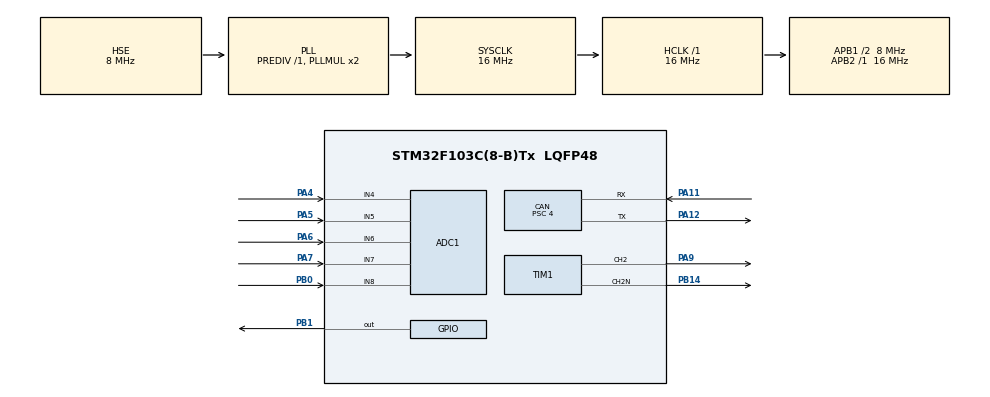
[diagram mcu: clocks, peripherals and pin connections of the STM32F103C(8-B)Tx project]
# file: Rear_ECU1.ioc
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ADC1.Channel-2\#ChannelRegularConversion=ADC_CHANNEL_6
ADC1.Channel-3\#ChannelRegularConversion=ADC_CHANNEL_4
ADC1.Channel-4\#ChannelRegularConversion=ADC_CHANNEL_5
ADC1.Channel-5\#ChannelRegularConversion=ADC_CHANNEL_7
ADC1.Channel-6\#ChannelRegularConversion=ADC_CHANNEL_8
ADC1.ContinuousConvMode=ENABLE
ADC1.EnableInjectedConversion=ENABLE
ADC1.NbrOfConversion=5
ADC1.NbrOfConversionFlag=1
ADC1.Rank-2\#ChannelRegularConversion=1
ADC1.Rank-3\#ChannelRegularConversion=2
ADC1.Rank-4\#ChannelRegularConversion=3
ADC1.Rank-5\#ChannelRegularConversion=4
ADC1.Rank-6\#ChannelRegularConversion=5
ADC1.SamplingTime-2\#ChannelRegularConversion=ADC_SAMPLETIME_55CYCLES_5
ADC1.SamplingTime-3\#ChannelRegularConversion=ADC_SAMPLETIME_55CYCLES_5
ADC1.SamplingTime-4\#ChannelRegularConversion=ADC_SAMPLETIME_55CYCLES_5
ADC1.SamplingTime-5\#ChannelRegularConversion=ADC_SAMPLETIME_55CYCLES_5
ADC1.SamplingTime-6\#ChannelRegularConversion=ADC_SAMPLETIME_55CYCLES_5
ADC1.master=1
CAN.BS1=CAN_BS1_15TQ
CAN.BS2=CAN_BS2_2TQ
CAN.CalculateBaudRate=111111
CAN.CalculateTimeBit=9000
CAN.CalculateTimeQuantum=500.0
CAN.NART=ENABLE
CAN.Prescaler=4
Dma.ADC1.0.Direction=DMA_PERIPH_TO_MEMORY
Dma.ADC1.0.Instance=DMA1_Channel1
Dma.ADC1.0.MemDataAlignment=DMA_MDATAALIGN_HALFWORD
Dma.ADC1.0.MemInc=DMA_MINC_ENABLE
Dma.ADC1.0.Mode=DMA_CIRCULAR
Dma.ADC1.0.PeriphDataAlignment=DMA_PDATAALIGN_HALFWORD
Dma.ADC1.0.PeriphInc=DMA_PINC_DISABLE
Dma.ADC1.0.Priority=DMA_PRIORITY_LOW
Dma.Request0=ADC1
Mcu.Family=STM32F1
Mcu.Name=STM32F103C(8-B)Tx
Mcu.Package=LQFP48
NVIC.ADC1_2_IRQn=true\:0\:0\:false\:false\:true\:true\:true\:true
NVIC.DMA1_Channel1_IRQn=true\:0\:0\:false\:false\:true\:false\:true\:true
NVIC.PriorityGroup=NVIC_PRIORITYGROUP_4
NVIC.USB_LP_CAN1_RX0_IRQn=true\:0\:0\:false\:false\:true\:true\:true\:true
PA11.Mode=CAN_Activate
PA11.Signal=CAN_RX
PA12.Mode=CAN_Activate
PA12.Signal=CAN_TX
PA13.Mode=Serial_Wire
PA13.Signal=SYS_JTMS-SWDIO
PA14.Mode=Serial_Wire
PA14.Signal=SYS_JTCK-SWCLK
PA4.Signal=ADCx_IN4
PA5.Signal=ADCx_IN5
PA6.Signal=ADCx_IN6
PA7.Signal=ADCx_IN7
PA9.Signal=S_TIM1_CH2
PB0.Signal=ADCx_IN8
PB1.Signal=GPIO_Output
PB14.Mode=PWM Generation2 CH2 CH2N
PB14.Signal=TIM1_CH2N
PD0-OSC_IN.Mode=HSE-External-Oscillator
PD0-OSC_IN.Signal=RCC_OSC_IN
PD1-OSC_OUT.Mode=HSE-External-Oscillator
PD1-OSC_OUT.Signal=RCC_OSC_OUT
ProjectManager.HeapSize=0x200
ProjectManager.StackSize=0x400
ProjectManager.TargetToolchain=STM32CubeIDE
RCC.AHBFreq_Value=16000000
RCC.APB1CLKDivider=RCC_HCLK_DIV2
RCC.APB1Freq_Value=8000000
RCC.APB1TimFreq_Value=16000000
RCC.APB2Freq_Value=16000000
RCC.APB2TimFreq_Value=16000000
RCC.HCLKFreq_Value=16000000
RCC.PLLSourceVirtual=RCC_PLLSOURCE_HSE
RCC.SYSCLKFreq_VALUE=16000000
RCC.SYSCLKSource=RCC_SYSCLKSOURCE_PLLCLK
RCC.USBFreq_Value=16000000
SH.ADCx_IN4.0=ADC1_IN4,IN4
SH.ADCx_IN5.0=ADC1_IN5,IN5
SH.ADCx_IN6.0=ADC1_IN6,IN6
SH.ADCx_IN7.0=ADC1_IN7,IN7
SH.ADCx_IN8.0=ADC1_IN8,IN8
SH.S_TIM1_CH2.0=TIM1_CH2,PWM Generation2 CH2 CH2N
TIM1.Channel-PWM\ Generation2\ CH2\ CH2N=TIM_CHANNEL_2
VP_TIM1_VS_ClockSourceINT.Mode=Internal
board=custom

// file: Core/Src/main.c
/* USER CODE BEGIN Header */
/**
  ******************************************************************************
  * @file           : main.c
  * @brief          : Main program body
  ******************************************************************************
  * @attention
  *
  * Copyright (c) 2026 STMicroelectronics.
  * All rights reserved.
  *
  * This software is licensed under terms that can be found in the LICENSE file
  * in the root directory of this software component.
  * If no LICENSE file comes with this software, it is provided AS-IS.
  *
  ******************************************************************************
  */
/* USER CODE END Header */
#include "main.h"
#include <math.h>

/* USER CODE BEGIN PD */
//----------brake light-----------
#define ADC_BUFF_SIZE 5
#define ADC_BRAKE_INDEX 0

#define Brake_pedal_threshold 150
//------brake light----------

//-----------thermal---------
#define ADC_THERM1_INDEX 1
#define ADC_THERM2_INDEX 2
#define ADC_THERM3_INDEX 3
#define ADC_THERM4_INDEX 4
#define ADC_MAX_VAL 4095      // 12-bit ADC resolution
#define TEMP_MAX_VAL 100.0f      // Max expected stator temp in degrees
#define MDOT_MAX_VAL 0.267f      // Max mass flow rate in kg/s
#define PWM_PERIOD 59999       // PWM Period
#define Table_Size 10
//-----------thermal-----------

/* USER CODE END PD */

ADC_HandleTypeDef hadc1;
DMA_HandleTypeDef hdma_adc1;

CAN_HandleTypeDef hcan;

TIM_HandleTypeDef htim1;

/* USER CODE BEGIN PV */
//--------brake light--------------
uint16_t adc_buff[ADC_BUFF_SIZE];
volatile uint16_t adc_val=0;
float voltage=0.0f;
float temp[4];
//-----------brake light---------

//----------thermals---------------
const float temp_breakpoints[Table_Size] = {0, 50, 55, 60, 65, 70, 75, 80, 85, 90};
const float mdot_data[Table_Size] = {0, 0.005, 0.01, 0.03, 0.06, 0.08, 0.1, 0.1, 0.15, 0.15};

// --- GLOBAL VARIABLES ---
volatile uint32_t adc_raw_value = 0;
float stator_temp = 0.0f;
float target_mdot = 0.0f;
uint32_t pwm_duty_cycle = 0;
//--------thermals-------------

/* USER CODE END PV */

void SystemClock_Config(void);
static void MX_GPIO_Init(void);
static void MX_DMA_Init(void);
static void MX_CAN_Init(void);
static void MX_ADC1_Init(void);
static void MX_TIM1_Init(void);

/* USER CODE BEGIN 0 */
//---------------thermal------------
//Lookup Table Interpolation
float mdot_from_temp(float input_temp) {
	if (input_temp <= temp_breakpoints[0]) {
		return mdot_data[0];
	}
	if (input_temp >= temp_breakpoints[Table_Size - 1]) {
		return mdot_data[Table_Size - 1];
	}
	int i = 0;
	while (temp_breakpoints[i + 1] < input_temp) {
		i++;
	}

	float x0 = temp_breakpoints[i];
	float x1 = temp_breakpoints[i + 1];
	float y0 = mdot_data[i];
	float y1 = mdot_data[i + 1];

	return y0 + ((input_temp - x0) * ((y1 - y0) / (x1 - x0)));
}

// Map Flow Rate to PWM
uint32_t calculate_pwm_duty(float flow_rate) {
	if (flow_rate > MDOT_MAX_VAL) {
		flow_rate = MDOT_MAX_VAL;
	}
	if (flow_rate < 0.0f) {
		flow_rate = 0.0f;
	}
	return (uint32_t) ((flow_rate / MDOT_MAX_VAL) * PWM_PERIOD);
}

 float therm_to_temp(uint16_t adc_value){

	 float voltage = ((float) adc_value * 3.3) / 4095.0f;
	 if (voltage >= 3.29f)
	 {

	 voltage = 3.29f;
	 }
	 float resistance = (voltage * 10000.0f) / (3.3f - voltage) ;
	 float temperature = (-31.19 * logf (resistance)) + 313.73f;
	 return temperature;
 }
//------------thermal--------------------
/* USER CODE END 0 */

int main(void)
{

  /* MCU Configuration--------------------------------------------------------*/

  /* Reset of all peripherals, Initializes the Flash interface and the Systick. */
  HAL_Init();

  /* Configure the system clock */
  SystemClock_Config();

  /* Initialize all configured peripherals */
  MX_GPIO_Init();
  MX_DMA_Init();
  MX_CAN_Init();
  MX_ADC1_Init();
  MX_TIM1_Init();
  /* USER CODE BEGIN 2 */
HAL_ADCEx_Calibration_Start(&hadc1);
__HAL_RCC_AFIO_CLK_ENABLE();
//	__HAL_AFIO_REMAP_TIM1_PARTIAL();
HAL_ADC_Start_DMA(&hadc1, (uint32_t*)adc_buff, ADC_BUFF_SIZE);
HAL_TIM_PWM_Start(&htim1,TIM_CHANNEL_2);
//HAL_TIMEx_PWMN_Start(&htim1, TIM_CHANNEL_2);
__HAL_TIM_MOE_ENABLE(&htim1);
  /* USER CODE END 2 */

  /* Infinite loop */
	while (1) {

    /* USER CODE BEGIN 3 */
		//------------ Brake light -----------------
		int sum = 0;

		adc_val = adc_buff[ADC_BRAKE_INDEX];
		voltage = ((float) adc_val * 3.3) / 4095.0f;
		if (adc_val > Brake_pedal_threshold) {
			HAL_GPIO_WritePin(GPIOB, GPIO_PIN_1, GPIO_PIN_SET);
		} else {
			HAL_GPIO_WritePin(GPIOB, GPIO_PIN_1, GPIO_PIN_RESET);
		}
		HAL_Delay(5);
		//---------------brake light --------------------------

		//---------------thermal---------------------

		// READ SENSOR
		float temp_1 = therm_to_temp(adc_buff[ADC_THERM1_INDEX]);
		float temp_2 = therm_to_temp(adc_buff[ADC_THERM2_INDEX]);
		float temp_3 = therm_to_temp(adc_buff[ADC_THERM3_INDEX]);
		float temp_4 = therm_to_temp(adc_buff[ADC_THERM4_INDEX]);
		temp[0]=temp_1;
		temp[1]=temp_2;
		temp[2]=temp_3;
		temp[3]=temp_4;
		stator_temp = temp_1;
		if (temp_2 > stator_temp) {
			stator_temp = temp_2;
		}
		if (temp_3 > stator_temp) {
			stator_temp = temp_3;
		}
		if (temp_4 > stator_temp) {
			stator_temp = temp_4;
		}

		// LOGIC (Lookup Table)
		target_mdot = mdot_from_temp(stator_temp);

		// PWM generation
		pwm_duty_cycle = calculate_pwm_duty(target_mdot);
		__HAL_TIM_SET_COMPARE(&htim1, TIM_CHANNEL_2, pwm_duty_cycle);
		//------------------thermal------------
	}
  /* USER CODE END 3 */
}

void SystemClock_Config(void)
{
  RCC_OscInitTypeDef RCC_OscInitStruct = {0};
  RCC_ClkInitTypeDef RCC_ClkInitStruct = {0};
  RCC_PeriphCLKInitTypeDef PeriphClkInit = {0};

  /** Initializes the RCC Oscillators according to the specified parameters
  * in the RCC_OscInitTypeDef structure.
  */
  RCC_OscInitStruct.OscillatorType = RCC_OSCILLATORTYPE_HSE;
  RCC_OscInitStruct.HSEState = RCC_HSE_ON;
  RCC_OscInitStruct.HSEPredivValue = RCC_HSE_PREDIV_DIV1;
  RCC_OscInitStruct.HSIState = RCC_HSI_ON;
  RCC_OscInitStruct.PLL.PLLState = RCC_PLL_ON;
  RCC_OscInitStruct.PLL.PLLSource = RCC_PLLSOURCE_HSE;
  RCC_OscInitStruct.PLL.PLLMUL = RCC_PLL_MUL2;
  if (HAL_RCC_OscConfig(&RCC_OscInitStruct) != HAL_OK)
  {
    Error_Handler();
  }

  /** Initializes the CPU, AHB and APB buses clocks
  */
  RCC_ClkInitStruct.ClockType = RCC_CLOCKTYPE_HCLK|RCC_CLOCKTYPE_SYSCLK
                              |RCC_CLOCKTYPE_PCLK1|RCC_CLOCKTYPE_PCLK2;
  RCC_ClkInitStruct.SYSCLKSource = RCC_SYSCLKSOURCE_PLLCLK;
  RCC_ClkInitStruct.AHBCLKDivider = RCC_SYSCLK_DIV1;
  RCC_ClkInitStruct.APB1CLKDivider = RCC_HCLK_DIV2;
  RCC_ClkInitStruct.APB2CLKDivider = RCC_HCLK_DIV1;

  if (HAL_RCC_ClockConfig(&RCC_ClkInitStruct, FLASH_LATENCY_0) != HAL_OK)
  {
    Error_Handler();
  }
  PeriphClkInit.PeriphClockSelection = RCC_PERIPHCLK_ADC;
  PeriphClkInit.AdcClockSelection = RCC_ADCPCLK2_DIV2;
  if (HAL_RCCEx_PeriphCLKConfig(&PeriphClkInit) != HAL_OK)
  {
    Error_Handler();
  }
}

static void MX_ADC1_Init(void)
{

  ADC_ChannelConfTypeDef sConfig = {0};

  /** Common config
  */
  hadc1.Instance = ADC1;
  hadc1.Init.ScanConvMode = ADC_SCAN_ENABLE;
  hadc1.Init.ContinuousConvMode = ENABLE;
  hadc1.Init.DiscontinuousConvMode = DISABLE;
  hadc1.Init.ExternalTrigConv = ADC_SOFTWARE_START;
  hadc1.Init.DataAlign = ADC_DATAALIGN_RIGHT;
  hadc1.Init.NbrOfConversion = 5;
  if (HAL_ADC_Init(&hadc1) != HAL_OK)
  {
    Error_Handler();
  }

  /** Configure Regular Channel
  */
  sConfig.Channel = ADC_CHANNEL_6;
  sConfig.Rank = ADC_REGULAR_RANK_1;
  sConfig.SamplingTime = ADC_SAMPLETIME_55CYCLES_5;
  if (HAL_ADC_ConfigChannel(&hadc1, &sConfig) != HAL_OK)
  {
    Error_Handler();
  }

  /** Configure Regular Channel
  */
  sConfig.Channel = ADC_CHANNEL_4;
  sConfig.Rank = ADC_REGULAR_RANK_2;
  if (HAL_ADC_ConfigChannel(&hadc1, &sConfig) != HAL_OK)
  {
    Error_Handler();
  }

  /** Configure Regular Channel
  */
  sConfig.Channel = ADC_CHANNEL_5;
  sConfig.Rank = ADC_REGULAR_RANK_3;
  if (HAL_ADC_ConfigChannel(&hadc1, &sConfig) != HAL_OK)
  {
    Error_Handler();
  }

  /** Configure Regular Channel
  */
  sConfig.Channel = ADC_CHANNEL_7;
  sConfig.Rank = ADC_REGULAR_RANK_4;
  if (HAL_ADC_ConfigChannel(&hadc1, &sConfig) != HAL_OK)
  {
    Error_Handler();
  }

  /** Configure Regular Channel
  */
  sConfig.Channel = ADC_CHANNEL_8;
  sConfig.Rank = ADC_REGULAR_RANK_5;
  if (HAL_ADC_ConfigChannel(&hadc1, &sConfig) != HAL_OK)
  {
    Error_Handler();
  }

}

static void MX_CAN_Init(void)
{

  hcan.Instance = CAN1;
  hcan.Init.Prescaler = 4;
  hcan.Init.Mode = CAN_MODE_NORMAL;
  hcan.Init.SyncJumpWidth = CAN_SJW_1TQ;
  hcan.Init.TimeSeg1 = CAN_BS1_15TQ;
  hcan.Init.TimeSeg2 = CAN_BS2_2TQ;
  hcan.Init.TimeTriggeredMode = DISABLE;
  hcan.Init.AutoBusOff = DISABLE;
  hcan.Init.AutoWakeUp = DISABLE;
  hcan.Init.AutoRetransmission = ENABLE;
  hcan.Init.ReceiveFifoLocked = DISABLE;
  hcan.Init.TransmitFifoPriority = DISABLE;
  if (HAL_CAN_Init(&hcan) != HAL_OK)
  {
    Error_Handler();
  }

}

static void MX_TIM1_Init(void)
{

  TIM_ClockConfigTypeDef sClockSourceConfig = {0};
  TIM_MasterConfigTypeDef sMasterConfig = {0};
  TIM_OC_InitTypeDef sConfigOC = {0};
  TIM_BreakDeadTimeConfigTypeDef sBreakDeadTimeConfig = {0};

  htim1.Instance = TIM1;
  htim1.Init.Prescaler = 0;
  htim1.Init.CounterMode = TIM_COUNTERMODE_UP;
  htim1.Init.Period = 65535;
  htim1.Init.ClockDivision = TIM_CLOCKDIVISION_DIV1;
  htim1.Init.RepetitionCounter = 0;
  htim1.Init.AutoReloadPreload = TIM_AUTORELOAD_PRELOAD_DISABLE;
  if (HAL_TIM_Base_Init(&htim1) != HAL_OK)
  {
    Error_Handler();
  }
  sClockSourceConfig.ClockSource = TIM_CLOCKSOURCE_INTERNAL;
  if (HAL_TIM_ConfigClockSource(&htim1, &sClockSourceConfig) != HAL_OK)
  {
    Error_Handler();
  }
  if (HAL_TIM_PWM_Init(&htim1) != HAL_OK)
  {
    Error_Handler();
  }
  sMasterConfig.MasterOutputTrigger = TIM_TRGO_RESET;
  sMasterConfig.MasterSlaveMode = TIM_MASTERSLAVEMODE_DISABLE;
  if (HAL_TIMEx_MasterConfigSynchronization(&htim1, &sMasterConfig) != HAL_OK)
  {
    Error_Handler();
  }
  sConfigOC.OCMode = TIM_OCMODE_PWM1;
  sConfigOC.Pulse = 0;
  sConfigOC.OCPolarity = TIM_OCPOLARITY_HIGH;
  sConfigOC.OCNPolarity = TIM_OCNPOLARITY_HIGH;
  sConfigOC.OCFastMode = TIM_OCFAST_DISABLE;
  sConfigOC.OCIdleState = TIM_OCIDLESTATE_RESET;
  sConfigOC.OCNIdleState = TIM_OCNIDLESTATE_RESET;
  if (HAL_TIM_PWM_ConfigChannel(&htim1, &sConfigOC, TIM_CHANNEL_2) != HAL_OK)
  {
    Error_Handler();
  }
  sBreakDeadTimeConfig.OffStateRunMode = TIM_OSSR_DISABLE;
  sBreakDeadTimeConfig.OffStateIDLEMode = TIM_OSSI_DISABLE;
  sBreakDeadTimeConfig.LockLevel = TIM_LOCKLEVEL_OFF;
  sBreakDeadTimeConfig.DeadTime = 0;
  sBreakDeadTimeConfig.BreakState = TIM_BREAK_DISABLE;
  sBreakDeadTimeConfig.BreakPolarity = TIM_BREAKPOLARITY_HIGH;
  sBreakDeadTimeConfig.AutomaticOutput = TIM_AUTOMATICOUTPUT_DISABLE;
  if (HAL_TIMEx_ConfigBreakDeadTime(&htim1, &sBreakDeadTimeConfig) != HAL_OK)
  {
    Error_Handler();
  }
  /* USER CODE BEGIN TIM1_Init 2 */
  TIM1->BDTR |= TIM_BDTR_MOE;
  /* USER CODE END TIM1_Init 2 */
  HAL_TIM_MspPostInit(&htim1);

}

static void MX_DMA_Init(void)
{

  /* DMA controller clock enable */
  __HAL_RCC_DMA1_CLK_ENABLE();

  /* DMA interrupt init */
  /* DMA1_Channel1_IRQn interrupt configuration */
  HAL_NVIC_SetPriority(DMA1_Channel1_IRQn, 0, 0);
  HAL_NVIC_EnableIRQ(DMA1_Channel1_IRQn);

}

static void MX_GPIO_Init(void)
{
  GPIO_InitTypeDef GPIO_InitStruct = {0};

  /* GPIO Ports Clock Enable */
  __HAL_RCC_GPIOD_CLK_ENABLE();
  __HAL_RCC_GPIOA_CLK_ENABLE();
  __HAL_RCC_GPIOB_CLK_ENABLE();

  /*Configure GPIO pin Output Level */
  HAL_GPIO_WritePin(GPIOB, GPIO_PIN_1, GPIO_PIN_RESET);

  /*Configure GPIO pin : PB1 */
  GPIO_InitStruct.Pin = GPIO_PIN_1;
  GPIO_InitStruct.Mode = GPIO_MODE_OUTPUT_PP;
  GPIO_InitStruct.Pull = GPIO_NOPULL;
  GPIO_InitStruct.Speed = GPIO_SPEED_FREQ_LOW;
  HAL_GPIO_Init(GPIOB, &GPIO_InitStruct);

}

void Error_Handler(void)
{
  __disable_irq();
  while (1)
  {
  }
}
